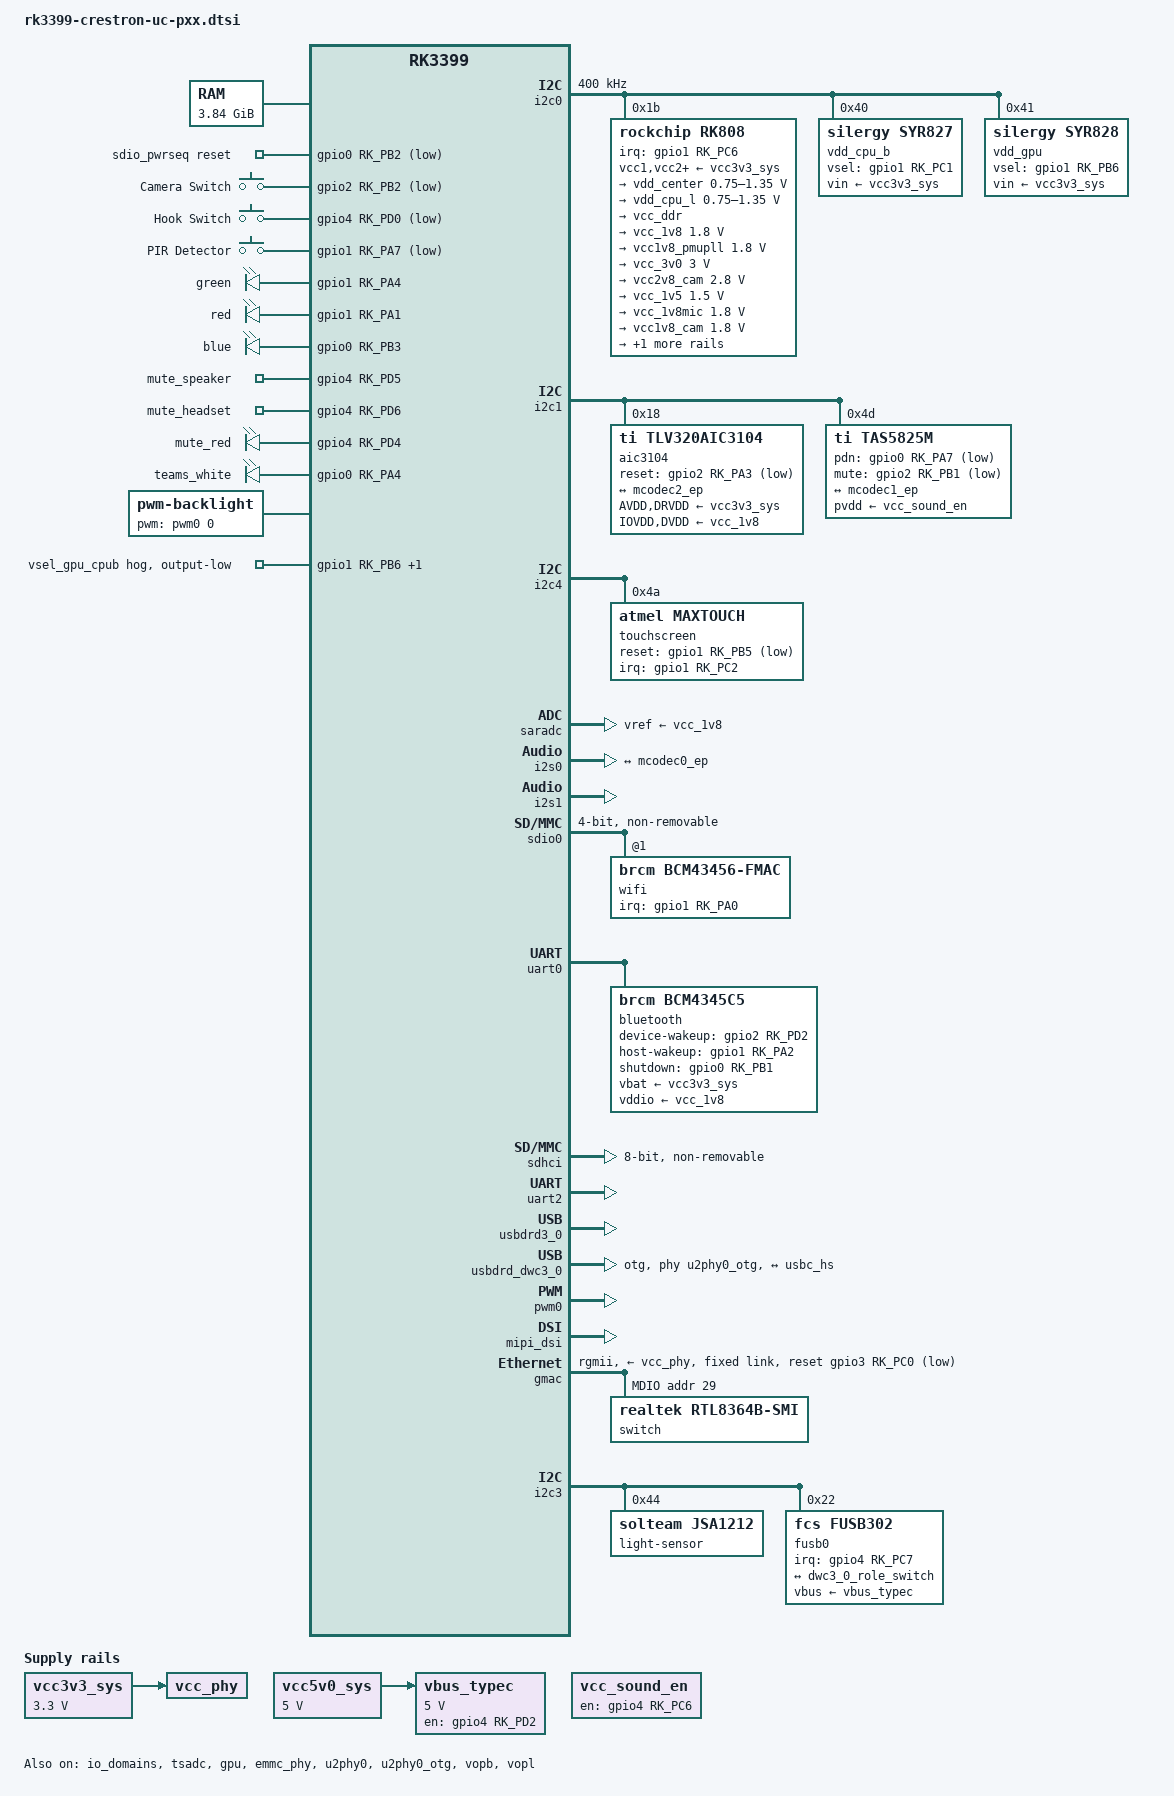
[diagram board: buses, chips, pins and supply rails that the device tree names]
// SPDX-License-Identifier: (GPL-2.0+ OR MIT)
/*
 * Common device tree for the Crestron UC-Pxx room phones (RK3399).
 *
 * The UC-P10 and the UC-P8 use the same board. They differ in the DSI panel
 * and in the order of the touch keys. The board file sets the model, the
 * panel compatible, the touch key codes and the sound card name.
 *
 * The display path is VOPB -> MIPI DSI0 -> panel, with a pwm0 backlight.
 * rockchip-drm owns the display after the kernel starts. There is no
 * simple-framebuffer.
 *
 * The memory banks avoid the OP-TEE secure carve-out at
 * 0x08400000..0x0a200000. The boot shim gives this DTB to the kernel, so
 * /chosen/bootargs is the kernel command line.
 *
 * fbcon=map:1 maps the framebuffer console to a framebuffer that does not
 * exist, so no console text reaches the LCD and the boot splash of the
 * initramfs owns fb0. The rescue and the text console of the root file
 * system map it back to fb0 (FBIOPUT_CON2FBMAP). fbcon=rotate:3 turns the
 * console upright then, and vt.global_cursor_default=0 hides its cursor.
 */

#include <dt-bindings/gpio/gpio.h>
#include <dt-bindings/input/input.h>
#include <dt-bindings/interrupt-controller/irq.h>
#include <dt-bindings/pinctrl/rockchip.h>
#include "rk3399.dtsi"

/ {
	aliases {
		ethernet0 = &gmac;
		mmc0 = &sdhci;
		serial2 = &uart2;
	};

	chosen {
		stdout-path = "serial2:115200n8";
		bootargs = "console=ttyS2,115200n8 earlycon=uart8250,mmio32,0xff1a0000 loglevel=7 clk_ignore_unused pd_ignore_unused fbcon=map:1 fbcon=rotate:3 vt.global_cursor_default=0 initramfs_async=0 panic=30 rdinit=/init";
	};

	memory@200000 {
		device_type = "memory";
		reg = <0x0 0x00200000 0x0 0x08200000>,
		      <0x0 0x0a200000 0x0 0xede00000>;
	};

	reserved-memory {
		#address-cells = <2>;
		#size-cells = <2>;
		ranges;

		/*
		 * 64 MiB contiguous pool for rockchip-drm scanout. The VOP runs
		 * without its IOMMU (iommus deleted below), so framebuffers must
		 * be physically contiguous; rockchip-drm uses dma_alloc (CMA) and
		 * programs the real physical address into WIN0_YRGB_MST.
		 * Placed in the upper memory bank, clear of the kernel load area
		 * (0x4000000) and OP-TEE (0x8400000..0xa200000).
		 */
		cma_reserved: linux,cma {
			compatible = "shared-dma-pool";
			reusable;
			linux,cma-default;
			size = <0x0 0x04000000>;
			alloc-ranges = <0x0 0x0a200000 0x0 0x40000000>;
		};
	};

	firmware {
		optee {
			compatible = "linaro,optee-tz";
			method = "smc";
			/* stock OP-TEE predates the mainline SMC ABI: probe fails -2 */
			status = "disabled";
		};
	};

	/*
	 * Stock "vcc_phy" (supply of the RTL8364B switch / gmac phy-supply):
	 * a fixed, always-on rail with no enable GPIO in the stock DT.
	 */
	vcc_phy: regulator-vcc-phy {
		compatible = "regulator-fixed";
		regulator-name = "vcc_phy";
		regulator-always-on;
		regulator-boot-on;
		vin-supply = <&vcc3v3_sys>;
	};

	/*
	 * USB-C VBUS source switch (stock fusb302 "vbus-5v-gpios" = GPIO4_D2,
	 * active high). Off at boot; only TCPM turns it on, when the port is a
	 * source (host role, e.g. an OTG adapter with Rd).
	 */
	vbus_typec: regulator-vbus-typec {
		compatible = "regulator-fixed";
		regulator-name = "vbus_typec";
		enable-active-high;
		gpio = <&gpio4 RK_PD2 GPIO_ACTIVE_HIGH>;
		pinctrl-names = "default";
		pinctrl-0 = <&vbus_typec_en>;
		regulator-min-microvolt = <5000000>;
		regulator-max-microvolt = <5000000>;
		vin-supply = <&vcc5v0_sys>;
	};

	vcc3v3_sys: regulator-vcc3v3-sys {
		compatible = "regulator-fixed";
		regulator-name = "vcc3v3_sys";
		regulator-always-on;
		regulator-boot-on;
		regulator-min-microvolt = <3300000>;
		regulator-max-microvolt = <3300000>;
	};

	vcc5v0_sys: regulator-vcc5v0-sys {
		compatible = "regulator-fixed";
		regulator-name = "vcc5v0_sys";
		regulator-always-on;
		regulator-boot-on;
		regulator-min-microvolt = <5000000>;
		regulator-max-microvolt = <5000000>;
	};

	/*
	 * Speaker amplifier PVDD/boost enable (stock "vcc_sound_en": GPIO4_C6,
	 * enable-active-high, boot-on, always-on).
	 */
	vcc_sound_en: regulator-vcc-sound-en {
		compatible = "regulator-fixed";
		regulator-name = "vcc_sound_en";
		enable-active-high;
		gpio = <&gpio4 RK_PC6 GPIO_ACTIVE_HIGH>;
		pinctrl-names = "default";
		pinctrl-0 = <&sound_en>;
		regulator-always-on;
		regulator-boot-on;
	};

	/* AP6256 Wi-Fi: WL_REG_ON = GPIO0_B2, 32 kHz LPO = RK808 clkout2 */
	sdio_pwrseq: sdio-pwrseq {
		compatible = "mmc-pwrseq-simple";
		clocks = <&rk808 1>;
		clock-names = "ext_clock";
		pinctrl-names = "default";
		pinctrl-0 = <&wifi_enable_h>;
		reset-gpios = <&gpio0 RK_PB2 GPIO_ACTIVE_LOW>;
	};

	/*
	 * Front-panel switches (stock gpio-keys, EV_SW, active low, 100 ms
	 * debounce): privacy camera shutter, handset hook, PIR presence.
	 */
	gpio-keys {
		compatible = "gpio-keys";
		pinctrl-names = "default";
		pinctrl-0 = <&switches>;

		switch-camera {
			label = "Camera Switch";
			gpios = <&gpio2 RK_PB2 GPIO_ACTIVE_LOW>;
			linux,input-type = <EV_SW>;
			linux,code = <SW_CAMERA_LENS_COVER>;
			debounce-interval = <100>;
		};

		switch-hook {
			label = "Hook Switch";
			gpios = <&gpio4 RK_PD0 GPIO_ACTIVE_LOW>;
			linux,input-type = <EV_SW>;
			linux,code = <SW_DOCK>;
			debounce-interval = <100>;
		};

		switch-pir {
			label = "PIR Detector";
			gpios = <&gpio1 RK_PA7 GPIO_ACTIVE_LOW>;
			linux,input-type = <EV_SW>;
			linux,code = <SW_FRONT_PROXIMITY>;
			debounce-interval = <100>;
		};
	};

	/* Stock gpio-leds (names kept; all default off as in stock) */
	leds {
		compatible = "gpio-leds";
		pinctrl-names = "default";
		pinctrl-0 = <&led_pins>;

		led-green {
			label = "green";
			gpios = <&gpio1 RK_PA4 GPIO_ACTIVE_HIGH>;
			default-state = "off";
		};

		led-red {
			label = "red";
			gpios = <&gpio1 RK_PA1 GPIO_ACTIVE_HIGH>;
			default-state = "off";
		};

		led-blue {
			label = "blue";
			gpios = <&gpio0 RK_PB3 GPIO_ACTIVE_HIGH>;
			default-state = "off";
		};

		led-mute-speaker {
			label = "mute_speaker";
			gpios = <&gpio4 RK_PD5 GPIO_ACTIVE_HIGH>;
			default-state = "off";
		};

		led-mute-headset {
			label = "mute_headset";
			gpios = <&gpio4 RK_PD6 GPIO_ACTIVE_HIGH>;
			default-state = "off";
		};

		led-mute-red {
			label = "mute_red";
			gpios = <&gpio4 RK_PD4 GPIO_ACTIVE_HIGH>;
			default-state = "off";
		};

		led-teams-white {
			label = "teams_white";
			gpios = <&gpio0 RK_PA4 GPIO_ACTIVE_HIGH>;
			default-state = "off";
		};
	};

	/*
	 * Main sound card. I2S0 (master, mclk 256 fs, 4 channel playback)
	 * feeds two codecs on one link, as the stock "grandstream-audio" card
	 * does: the TAS5825M speaker amplifier and the TLV320AIC3104
	 * handset and headset codec. Playback channels 1-2 go to I2S0 SDO0,
	 * channels 3-4 to SDO1. The board file sets the card name (label).
	 */
	sound: sound {
		compatible = "audio-graph-card2";
		links = <&i2s0_port>;

		multi {
			#address-cells = <1>;
			#size-cells = <0>;

			ports@0 {
				reg = <0>;
				#address-cells = <1>;
				#size-cells = <0>;

				port@0 {
					reg = <0>;
					mcodec0_ep: endpoint {
						remote-endpoint = <&i2s0_ep>;
					};
				};

				port@1 {
					reg = <1>;
					mcodec1_ep: endpoint {
						remote-endpoint = <&tas5825m_ep>;
					};
				};

				port@2 {
					reg = <2>;
					mcodec2_ep: endpoint {
						remote-endpoint = <&aic3104_ep>;
					};
				};
			};
		};
	};

	/* Bluetooth SCO PCM on I2S1 (stock "rockchip,bt" card) */
	bt_sco: bt-sco {
		compatible = "delta,dfbmcs320";
		#sound-dai-cells = <0>;
	};

	bt-sound {
		compatible = "simple-audio-card";
		simple-audio-card,name = "rockchip,bt";
		simple-audio-card,format = "dsp_b";
		simple-audio-card,bitclock-inversion;
		simple-audio-card,mclk-fs = <256>;

		simple-audio-card,cpu {
			sound-dai = <&i2s1>;
		};

		simple-audio-card,codec {
			sound-dai = <&bt_sco>;
		};
	};

	backlight: backlight {
		compatible = "pwm-backlight";
		pwms = <&pwm0 0 20000 0>;
		/* The board files give the brightness-levels table. */
		default-brightness-level = <240>;
	};
};

/*
 * i2c0: RK808 PMIC + the two Silergy SYR82x DC/DC (big-cluster and GPU
 * rails). Every regulator is described exactly as in the stock 1.0.6.20
 * kernel DT (voltages, always-on/boot-on, ramp delays, suspend states).
 * Regulators the stock DT leaves undescribed (RK808 LDO_REG1, LDO_REG2,
 * SWITCH_REG1) stay undescribed, so the kernel never touches them.
 * The panel power supply is vcc3v3_lcd2 (SWITCH_REG2).
 */
&i2c0 {
	clock-frequency = <400000>;
	i2c-scl-rising-time-ns = <180>;
	i2c-scl-falling-time-ns = <30>;
	status = "okay";

	rk808: pmic@1b {
		compatible = "rockchip,rk808";
		reg = <0x1b>;
		interrupt-parent = <&gpio1>;
		interrupts = <RK_PC6 IRQ_TYPE_LEVEL_LOW>;
		pinctrl-names = "default";
		pinctrl-0 = <&pmic_int_l>;
		#clock-cells = <1>;
		clock-output-names = "rk808-clkout1", "wifibt_32kin";
		system-power-controller;
		wakeup-source;

		vcc1-supply = <&vcc3v3_sys>;
		vcc2-supply = <&vcc3v3_sys>;
		vcc3-supply = <&vcc3v3_sys>;
		vcc4-supply = <&vcc3v3_sys>;
		vcc6-supply = <&vcc3v3_sys>;
		vcc7-supply = <&vcc3v3_sys>;
		vcc8-supply = <&vcc3v3_sys>;
		vcc9-supply = <&vcc3v3_sys>;
		vcc10-supply = <&vcc3v3_sys>;
		vcc11-supply = <&vcc3v3_sys>;
		vcc12-supply = <&vcc3v3_sys>;

		regulators {
			vdd_center: DCDC_REG1 {
				regulator-name = "vdd_center";
				regulator-always-on;
				regulator-boot-on;
				regulator-min-microvolt = <750000>;
				regulator-max-microvolt = <1350000>;
				regulator-ramp-delay = <6001>;

				regulator-state-mem {
					regulator-on-in-suspend;
					regulator-suspend-max-microvolt = <1000000>;
				};
			};

			vdd_cpu_l: DCDC_REG2 {
				regulator-name = "vdd_cpu_l";
				regulator-always-on;
				regulator-boot-on;
				regulator-min-microvolt = <750000>;
				regulator-max-microvolt = <1350000>;
				regulator-ramp-delay = <6001>;

				regulator-state-mem {
					regulator-on-in-suspend;
					regulator-suspend-max-microvolt = <1000000>;
				};
			};

			vcc_ddr: DCDC_REG3 {
				regulator-name = "vcc_ddr";
				regulator-always-on;
				regulator-boot-on;

				regulator-state-mem {
					regulator-on-in-suspend;
				};
			};

			vcc_1v8: DCDC_REG4 {
				regulator-name = "vcc_1v8";
				regulator-always-on;
				regulator-boot-on;
				regulator-min-microvolt = <1800000>;
				regulator-max-microvolt = <1800000>;

				regulator-state-mem {
					regulator-on-in-suspend;
					regulator-suspend-microvolt = <1800000>;
				};
			};

			vcc1v8_pmupll: LDO_REG3 {
				regulator-name = "vcc1v8_pmupll";
				regulator-always-on;
				regulator-boot-on;
				regulator-min-microvolt = <1800000>;
				regulator-max-microvolt = <1800000>;

				regulator-state-mem {
					regulator-on-in-suspend;
					regulator-suspend-microvolt = <1800000>;
				};
			};

			vcc_3v0: LDO_REG4 {
				regulator-name = "vcc_3v0";
				regulator-always-on;
				regulator-boot-on;
				regulator-min-microvolt = <3000000>;
				regulator-max-microvolt = <3000000>;

				regulator-state-mem {
					regulator-on-in-suspend;
					regulator-suspend-microvolt = <3000000>;
				};
			};

			vcc2v8_cam: LDO_REG5 {
				regulator-name = "vcc2v8_cam";
				regulator-always-on;
				regulator-boot-on;
				regulator-min-microvolt = <2800000>;
				regulator-max-microvolt = <2800000>;

				regulator-state-mem {
					regulator-on-in-suspend;
					regulator-suspend-microvolt = <2800000>;
				};
			};

			vcc_1v5: LDO_REG6 {
				regulator-name = "vcc_1v5";
				regulator-always-on;
				regulator-boot-on;
				regulator-min-microvolt = <1500000>;
				regulator-max-microvolt = <1500000>;

				regulator-state-mem {
					regulator-on-in-suspend;
					regulator-suspend-microvolt = <1500000>;
				};
			};

			vcc_1v8mic: LDO_REG7 {
				regulator-name = "vcc_1v8mic";
				regulator-always-on;
				regulator-boot-on;
				regulator-min-microvolt = <1800000>;
				regulator-max-microvolt = <1800000>;

				regulator-state-mem {
					regulator-on-in-suspend;
					regulator-suspend-microvolt = <1800000>;
				};
			};

			vcc1v8_cam: LDO_REG8 {
				regulator-name = "vcc1v8_cam";
				regulator-always-on;
				regulator-boot-on;
				regulator-min-microvolt = <1800000>;
				regulator-max-microvolt = <1800000>;

				regulator-state-mem {
					regulator-on-in-suspend;
					regulator-suspend-microvolt = <1800000>;
				};
			};

			/*
			 * Panel 3.3 V. Not always-on in stock: the DSI panel is
			 * its only consumer and enables it in prepare().
			 */
			vcc3v3_lcd2: SWITCH_REG2 {
				regulator-name = "vcc3v3_lcd2";
				regulator-min-microvolt = <3300000>;
				regulator-max-microvolt = <3300000>;
				regulator-ramp-delay = <500000>;

				regulator-state-mem {
					regulator-off-in-suspend;
				};
			};
		};
	};

	/* Big-cluster (A72) rail. VSEL pin held low -> VSEL0 = runtime. */
	vdd_cpu_b: regulator@40 {
		compatible = "silergy,syr827";
		reg = <0x40>;
		fcs,suspend-voltage-selector = <1>;
		pinctrl-names = "default";
		pinctrl-0 = <&vsel1_pin>;
		vsel-gpios = <&gpio1 RK_PC1 GPIO_ACTIVE_HIGH>;
		regulator-name = "vdd_cpu_b";
		regulator-min-microvolt = <712500>;
		regulator-max-microvolt = <1500000>;
		regulator-ramp-delay = <1000>;
		regulator-always-on;
		regulator-boot-on;
		vin-supply = <&vcc3v3_sys>;

		regulator-state-mem {
			regulator-off-in-suspend;
		};
	};

	/* GPU rail. VSEL pin held low -> VSEL0 = runtime. */
	vdd_gpu: regulator@41 {
		compatible = "silergy,syr828";
		reg = <0x41>;
		fcs,suspend-voltage-selector = <1>;
		pinctrl-names = "default";
		pinctrl-0 = <&vsel2_pin>;
		vsel-gpios = <&gpio1 RK_PB6 GPIO_ACTIVE_HIGH>;
		regulator-name = "vdd_gpu";
		regulator-min-microvolt = <712500>;
		regulator-max-microvolt = <1500000>;
		regulator-ramp-delay = <1000>;
		regulator-always-on;
		regulator-boot-on;
		vin-supply = <&vcc3v3_sys>;

		regulator-state-mem {
			regulator-off-in-suspend;
		};
	};
};

/* i2c1: speaker amplifier + handset/headset codec (stock timings) */
&i2c1 {
	i2c-scl-rising-time-ns = <164>;
	i2c-scl-falling-time-ns = <15>;
	status = "okay";

	aic3104: audio-codec@18 {
		compatible = "ti,tlv320aic3104";
		reg = <0x18>;
		#sound-dai-cells = <0>;
		clocks = <&cru SCLK_I2S_8CH_OUT>;
		pinctrl-names = "default";
		pinctrl-0 = <&aic3104_pins>;
		reset-gpios = <&gpio2 RK_PA3 GPIO_ACTIVE_LOW>;
		ai3x-micbias-vg = <2>;		/* 2.5 V, as stock */
		AVDD-supply = <&vcc3v3_sys>;
		DRVDD-supply = <&vcc3v3_sys>;
		IOVDD-supply = <&vcc_1v8>;
		DVDD-supply = <&vcc_1v8>;

		port {
			aic3104_ep: endpoint {
				remote-endpoint = <&mcodec2_ep>;
				/* MCLK pin: the card enables it and sets 256 fs */
				clocks = <&cru SCLK_I2S_8CH_OUT>;
				mclk-fs = <256>;
			};
		};
	};

	tas5825m: amplifier@4d {
		compatible = "ti,tas5825m";
		reg = <0x4d>;
		#sound-dai-cells = <0>;
		pinctrl-names = "default";
		pinctrl-0 = <&tas5825m_pins>;
		pdn-gpios = <&gpio0 RK_PA7 GPIO_ACTIVE_LOW>;
		mute-gpios = <&gpio2 RK_PB1 GPIO_ACTIVE_LOW>;
		pvdd-supply = <&vcc_sound_en>;
		ti,dsp-config-name = "ucp10";
		sound-name-prefix = "Speaker";

		port {
			tas5825m_ep: endpoint {
				remote-endpoint = <&mcodec1_ep>;
			};
		};
	};
};

/*
 * i2c2: OV2735 2-lane MIPI camera on ISP0. Disabled: on the tested UC-P10
 * the sensor does not answer (the stock probe also fails with -ENXIO at
 * 0x3c).
 */
&i2c2 {
	clock-frequency = <400000>;
	i2c-scl-rising-time-ns = <200>;
	i2c-scl-falling-time-ns = <115>;
	status = "disabled";

	camera@3c {
		compatible = "ovti,ov2735";
		reg = <0x3c>;
		clocks = <&cru SCLK_CIF_OUT>;
		pinctrl-names = "default";
		pinctrl-0 = <&cif_clkouta &ov2735_pins>;
		avdd-supply = <&vcc2v8_cam>;
		dvdd-supply = <&vcc1v8_cam>;
		dovdd-supply = <&vcc1v8_cam>;
		reset-gpios = <&gpio2 RK_PA2 GPIO_ACTIVE_LOW>;
		/* stock pwdn-gpios GPIO2_A4 active high == enable active low */
		enable-gpios = <&gpio2 RK_PA4 GPIO_ACTIVE_LOW>;
		status = "disabled";
	};
};

/* i2c4: Atmel maXTouch mXT1066 (family 164, variant 11, FW 1.2.AA) */
&i2c4 {
	i2c-scl-rising-time-ns = <475>;
	i2c-scl-falling-time-ns = <26>;
	status = "okay";

	/*
	 * The 6 capacitive keys are the T15 key array of the chip. The board
	 * file sets "linux,keycodes" for T15, because the key order differs
	 * between the models. "linux,keycodes" keeps this a direct
	 * touchscreen ("linux,gpio-keymap" would make it a touchpad).
	 */
	touchscreen: touchscreen@4a {
		compatible = "atmel,maxtouch";
		reg = <0x4a>;
		interrupt-parent = <&gpio1>;
		interrupts = <RK_PC2 IRQ_TYPE_LEVEL_LOW>;
		pinctrl-names = "default";
		pinctrl-0 = <&touch_pins>;
		reset-gpios = <&gpio1 RK_PB5 GPIO_ACTIVE_LOW>;
	};
};

&io_domains {
	bt656-supply = <&vcc_1v8>;
	audio-supply = <&vcc_1v8mic>;
	gpio1830-supply = <&vcc_3v0>;
	status = "okay";
};

&pmu_io_domains {
	pmu1830-supply = <&vcc_1v8>;
	status = "okay";
};

&tsadc {
	/* stock: tshut via OTP_OUT GPIO to the PMIC, active high */
	rockchip,hw-tshut-mode = <1>;
	rockchip,hw-tshut-polarity = <1>;
	status = "okay";
};

&saradc {
	/* ch1 = recovery key, ch2 = handset detect (stock gs_handset_det) */
	vref-supply = <&vcc_1v8>;
	status = "okay";
};

&gpu {
	mali-supply = <&vdd_gpu>;
	status = "okay";
};

&i2s0 {
	rockchip,playback-channels = <4>;
	rockchip,capture-channels = <8>;
	status = "okay";

	i2s0_port: port {
		i2s0_ep: endpoint {
			remote-endpoint = <&mcodec0_ep>;
			dai-format = "i2s";
			bitclock-master;
			frame-master;
			mclk-fs = <256>;
		};
	};
};

&i2s1 {
	rockchip,playback-channels = <2>;
	rockchip,capture-channels = <2>;
	status = "okay";
};

/* AP6256 Wi-Fi (BCM43456) on SDIO0, SDR104 as stock */
&sdio0 {
	bus-width = <4>;
	cap-sd-highspeed;
	cap-sdio-irq;
	disable-wp;
	keep-power-in-suspend;
	max-frequency = <150000000>;
	mmc-pwrseq = <&sdio_pwrseq>;
	non-removable;
	pinctrl-names = "default";
	pinctrl-0 = <&sdio0_bus4 &sdio0_cmd &sdio0_clk>;
	sd-uhs-sdr104;
	#address-cells = <1>;
	#size-cells = <0>;
	status = "okay";

	wifi@1 {
		compatible = "brcm,bcm43456-fmac", "brcm,bcm4329-fmac";
		reg = <1>;
		interrupt-parent = <&gpio1>;
		interrupts = <RK_PA0 IRQ_TYPE_LEVEL_HIGH>;
		interrupt-names = "host-wake";
		pinctrl-names = "default";
		pinctrl-0 = <&wifi_host_wake>;
	};
};

/* AP6256 Bluetooth (BCM4345C5) on UART0 with RTS/CTS */
&uart0 {
	pinctrl-names = "default";
	pinctrl-0 = <&uart0_xfer &uart0_cts &uart0_rts>;
	uart-has-rtscts;
	status = "okay";

	bluetooth {
		compatible = "brcm,bcm4345c5";
		clocks = <&rk808 1>;
		clock-names = "lpo";
		device-wakeup-gpios = <&gpio2 RK_PD2 GPIO_ACTIVE_HIGH>;
		host-wakeup-gpios = <&gpio1 RK_PA2 GPIO_ACTIVE_HIGH>;
		shutdown-gpios = <&gpio0 RK_PB1 GPIO_ACTIVE_HIGH>;
		max-speed = <1500000>;
		pinctrl-names = "default";
		pinctrl-0 = <&bt_host_wake &bt_wake &bt_enable>;
		vbat-supply = <&vcc3v3_sys>;
		vddio-supply = <&vcc_1v8>;
	};
};

/*
 * Lines without a kernel consumer, named for userspace (libgpiod):
 * PoE class/PSE detect (stock "grandstream,poe-det"), and the two codec-side
 * external amplifier enables of the vendor aic3x driver ("hf-ext-amp" =
 * "Handfree Speaker Amp", "hs-ext-amp" = "Handset Speaker Amp").
 */
&gpio0 {
	gpio-line-names =
		/* A0-A7 */ "", "", "", "", "", "", "", "",
		/* B0-B7 */ "", "", "", "", "", "HF_EXT_AMP_EN", "", "",
		/* C0-C7 */ "", "", "", "", "", "", "", "",
		/* D0-D7 */ "", "", "", "", "", "", "", "";
};

&gpio1 {
	gpio-line-names =
		/* A0-A7 */ "", "", "", "", "", "", "", "",
		/* B0-B7 */ "HS_EXT_AMP_EN", "", "", "", "", "", "", "",
		/* C0-C7 */ "", "", "", "", "", "", "", "",
		/* D0-D7 */ "", "", "", "", "", "", "", "";

	/*
	 * SYR828 (vdd_gpu) VSEL = GPIO1_B6, SYR827 (vdd_cpu_b) VSEL = GPIO1_C1.
	 * Stock drives both output-low (runtime voltage from VSEL0, which is the
	 * register mainline fan53555 programs with suspend-voltage-selector 1).
	 * The mainline driver ignores vsel-gpios, so hog them low here instead
	 * of relying on the pinctrl pull-down alone.
	 */
	vsel-hog {
		gpio-hog;
		gpios = <RK_PB6 GPIO_ACTIVE_HIGH>, <RK_PC1 GPIO_ACTIVE_HIGH>;
		output-low;
		line-name = "vsel_gpu_cpub";
	};
};

&gpio2 {
	gpio-line-names =
		/* A0-A7 */ "", "", "", "", "", "TAS5825M_FAULT", "PSE_DET1", "PSE_DET2",
		/* B0-B7 */ "POE_802_3AT", "", "", "", "", "", "", "",
		/* C0-C7 */ "", "", "", "", "", "", "", "",
		/* D0-D7 */ "", "", "", "", "", "", "", "";
};

&gpio4 {
	gpio-line-names =
		/* A0-A7 */ "", "", "", "", "", "", "", "",
		/* B0-B7 */ "", "", "", "", "", "", "", "",
		/* C0-C7 */ "", "", "", "", "", "", "", "",
		/* D0-D7 */ "", "USB_CURRENT", "", "", "", "", "", "";
};

&emmc_phy {
	status = "okay";
};

&sdhci {
	bus-width = <8>;
	mmc-hs200-1_8v;
	non-removable;
	status = "okay";
};

&uart2 {
	status = "okay";
};

&u2phy0 {
	status = "okay";
};

&u2phy0_otg {
	status = "okay";
};

/* Stock DT disables u2phy1, usbdrd3_1, tcphy1 and all EHCI/OHCI: not wired. */
&u2phy1 {
	status = "disabled";
};

&u2phy1_otg {
	status = "disabled";
};

&usbdrd3_0 {
	status = "okay";
};

/*
 * USB-C port: dual-role, role chosen by the fusb302/TCPM through the USB
 * role switch (dwc3 starts, and stays when nothing is attached, in device
 * mode so the configfs gadget can bind). USB 2.0 only: the Type-C PHY
 * (tcphy0, SuperSpeed + orientation) is not used yet.
 */
&usbdrd_dwc3_0 {
	dr_mode = "otg";
	usb-role-switch;
	role-switch-default-mode = "peripheral";
	maximum-speed = "high-speed";
	phys = <&u2phy0_otg>;
	phy-names = "usb2-phy";
	snps,dis_u2_susphy_quirk;
	status = "okay";

	port {
		dwc3_0_role_switch: endpoint {
			remote-endpoint = <&usbc_hs>;
		};
	};
};

&usbdrd3_1 {
	status = "disabled";
};

&usbdrd_dwc3_1 {
	status = "disabled";
};

&pwm0 {
	status = "okay";
};

/* Display: VOPB -> MIPI DSI0 -> panel. The board file sets the panel compatible. */
&vopb {
	status = "okay";
	/delete-property/ iommus;

	/*
	 * Pixel clock (dclk_vop0): source it from VPLL set to 1200 MHz, so the
	 * integer divider gives exactly 120 MHz (VPLL/10) for the UC-P10 panel.
	 * Mainline rk3399.dtsi leaves the VOP dclk
	 * mux/parent unset, and dclk_vop0_div does not retune its PLL, so the
	 * source PLL must be pre-set to a divisible rate. ACLK/HCLK repeated
	 * because overriding assigned-clocks replaces the base vopb values.
	 */
	assigned-clocks = <&cru DCLK_VOP0_DIV>, <&cru DCLK_VOP0>,
			  <&cru PLL_VPLL>, <&cru ACLK_VOP0>, <&cru HCLK_VOP0>;
	assigned-clock-parents = <&cru PLL_VPLL>, <&cru DCLK_VOP0_DIV>;
	assigned-clock-rates = <0>, <0>,
			       <1200000000>, <400000000>, <100000000>;
};

&vopb_mmu {
	status = "disabled";
};

&vopl {
	status = "okay";
	/delete-property/ iommus;
};

&vopl_mmu {
	status = "disabled";
};

&mipi_dsi {
	status = "okay";
	#address-cells = <1>;
	#size-cells = <0>;

	panel: panel@0 {
		reg = <0>;
		backlight = <&backlight>;
		power-supply = <&vcc3v3_lcd2>;
		/* panel is mounted rotated; fbcon=rotate:3 in bootargs matches */
		rotation = <270>;
		/* stock reset-gpios <phandle 0x2f = gpio1, pin 24 = RK_PD0> */
		reset-gpios = <&gpio1 RK_PD0 GPIO_ACTIVE_LOW>;

		port {
			mipi_in_panel: endpoint {
				remote-endpoint = <&mipi_out_panel>;
			};
		};
	};
};

&mipi_out {
	mipi_out_panel: endpoint {
		remote-endpoint = <&mipi_in_panel>;
	};
};

/*
 * Ethernet: the GMAC RGMII goes to an on-board Realtek RTL8364B 2-port GbE
 * switch (no discrete PHY). Port 3 = LAN (PoE in), port 1 = PC pass-through.
 * MAC-side values (delays, clocking, reset GPIO and timing) are from the
 * stock 1.0.6.20 DT. The switch drives its RGMII port as a forced 1000/full
 * link, so the MAC uses a fixed link (the LAN port speed is the switch's
 * business). Userspace configures the switch through the realtek-rtl8364b-smi
 * driver (SMI over MDIO address 29) BEFORE eth0 is opened: rtl8363-init
 * replays the init of the stock kernel MDIO reset hook.
 */
&gmac {
	assigned-clocks = <&cru SCLK_RMII_SRC>;
	assigned-clock-parents = <&cru SCLK_MAC>;
	assigned-clock-rates = <125000000>;
	clock_in_out = "output";
	/* The MAC adds the RGMII delays (tx_delay, rx_delay), as stock does. */
	phy-mode = "rgmii";
	phy-supply = <&vcc_phy>;
	pinctrl-names = "default";
	pinctrl-0 = <&rgmii_pins>;
	snps,reset-gpio = <&gpio3 RK_PC0 GPIO_ACTIVE_LOW>;
	snps,reset-active-low;
	snps,reset-delays-us = <0 20000 100000>;
	tx_delay = <0x1a>;
	rx_delay = <0x00>;
	status = "okay";

	fixed-link {
		speed = <1000>;
		full-duplex;
		pause;
	};

	mdio {
		compatible = "snps,dwmac-mdio";
		#address-cells = <1>;
		#size-cells = <0>;

		/*
		 * RTL8364B SMI slave. (Its internal PHYs answer at MDIO 1 and 3,
		 * PHY ID 0x001cc943; they are managed through the switch.)
		 */
		switch@1d {
			compatible = "realtek,rtl8364b-smi";
			reg = <29>;
		};
	};
};

/* USB-C controller (stock: "fairchild,fusb302" on i2c3 @0x22, PD disabled) */
&i2c3 {
	i2c-scl-rising-time-ns = <600>;
	i2c-scl-falling-time-ns = <20>;
	status = "okay";

	/*
	 * Solteam JSA1213 ambient light sensor (stock "ls_jsa1213", polled).
	 * The stock sensor_operate shows the JSA1212 register core (CONF 0x01,
	 * INT 0x02, 12-bit ALS data 0x09/0x0A); the mainline jsa1212 driver
	 * binds and reads it. Stock also writes reg 0x0F = 0x29 at init
	 * (meaning unknown, not done here).
	 */
	light-sensor@44 {
		compatible = "solteam,jsa1212";
		reg = <0x44>;
	};

	fusb0: typec-portc@22 {
		compatible = "fcs,fusb302";
		reg = <0x22>;
		interrupt-parent = <&gpio4>;
		interrupts = <RK_PC7 IRQ_TYPE_LEVEL_LOW>;
		pinctrl-names = "default";
		pinctrl-0 = <&fusb0_int>;
		vbus-supply = <&vbus_typec>;

		connector {
			compatible = "usb-c-connector";
			label = "USB-C";
			data-role = "dual";
			power-role = "dual";
			try-power-role = "sink";
			self-powered;
			pd-disable;
			typec-power-opmode = "default";

			ports {
				#address-cells = <1>;
				#size-cells = <0>;

				port@0 {
					reg = <0>;

					usbc_hs: endpoint {
						remote-endpoint = <&dwc3_0_role_switch>;
					};
				};
			};
		};
	};
};

&pinctrl {
	/* PoE detect inputs: no kernel consumer, pulls applied as a hog */
	pinctrl-names = "default";
	pinctrl-0 = <&poe_det_pins>;

	pmic {
		pmic_int_l: pmic-int-l {
			rockchip,pins = <1 RK_PC6 RK_FUNC_GPIO &pcfg_pull_up>;
		};

		vsel1_pin: vsel1-pin {
			rockchip,pins = <1 RK_PC1 RK_FUNC_GPIO &pcfg_pull_down>;
		};

		vsel2_pin: vsel2-pin {
			rockchip,pins = <1 RK_PB6 RK_FUNC_GPIO &pcfg_pull_down>;
		};
	};

	sdio-pwrseq {
		wifi_enable_h: wifi-enable-h {
			rockchip,pins = <0 RK_PB2 RK_FUNC_GPIO &pcfg_pull_none>;
		};
	};

	wireless-wlan {
		wifi_host_wake: wifi-host-wake {
			rockchip,pins = <1 RK_PA0 RK_FUNC_GPIO &pcfg_pull_none>;
		};
	};

	bluetooth {
		bt_enable: bt-enable {
			rockchip,pins = <0 RK_PB1 RK_FUNC_GPIO &pcfg_pull_none>;
		};

		bt_host_wake: bt-host-wake {
			rockchip,pins = <1 RK_PA2 RK_FUNC_GPIO &pcfg_pull_none>;
		};

		bt_wake: bt-wake {
			rockchip,pins = <2 RK_PD2 RK_FUNC_GPIO &pcfg_pull_none>;
		};
	};

	sound {
		sound_en: sound-en {
			rockchip,pins = <4 RK_PC6 RK_FUNC_GPIO &pcfg_pull_up>;
		};

		/* PDN, MUTEZ, FAULT */
		tas5825m_pins: tas5825m-pins {
			rockchip,pins = <0 RK_PA7 RK_FUNC_GPIO &pcfg_pull_up>,
					<2 RK_PB1 RK_FUNC_GPIO &pcfg_pull_up>,
					<2 RK_PA5 RK_FUNC_GPIO &pcfg_pull_up>;
		};

		/*
		 * reset, hf-ext-amp (GPIO0_B5) and hs-ext-amp (GPIO1_B0). Both
		 * amplifier enables are driven HIGH by this default state when the
		 * codec probes (hands-free speaker and handset both on; both are fed
		 * from the AIC3104 right DAC, I2S0 channel 4). No hog: the lines stay
		 * free, so userspace can still switch them (gpio chardev).
		 */
		aic3104_pins: aic3104-pins {
			rockchip,pins = <2 RK_PA3 RK_FUNC_GPIO &pcfg_pull_up>,
					<0 RK_PB5 RK_FUNC_GPIO &pcfg_output_high>,
					<1 RK_PB0 RK_FUNC_GPIO &pcfg_output_high>;
		};
	};

	touchscreen {
		touch_pins: touch-pins {
			rockchip,pins = <1 RK_PC2 RK_FUNC_GPIO &pcfg_pull_up>,
					<1 RK_PB5 RK_FUNC_GPIO &pcfg_pull_none>;
		};
	};

	camera {
		ov2735_pins: ov2735-pins {
			rockchip,pins = <2 RK_PA2 RK_FUNC_GPIO &pcfg_pull_up>,
					<2 RK_PA4 RK_FUNC_GPIO &pcfg_pull_up>;
		};
	};

	buttons {
		switches: switches {
			rockchip,pins = <2 RK_PB2 RK_FUNC_GPIO &pcfg_pull_up>,
					<4 RK_PD0 RK_FUNC_GPIO &pcfg_pull_up>,
					<1 RK_PA7 RK_FUNC_GPIO &pcfg_pull_up>;
		};
	};

	leds {
		led_pins: led-pins {
			rockchip,pins = <1 RK_PA4 RK_FUNC_GPIO &pcfg_pull_up>,
					<1 RK_PA1 RK_FUNC_GPIO &pcfg_pull_up>,
					<0 RK_PB3 RK_FUNC_GPIO &pcfg_pull_up>,
					<4 RK_PD5 RK_FUNC_GPIO &pcfg_pull_up>,
					<4 RK_PD6 RK_FUNC_GPIO &pcfg_pull_up>,
					<4 RK_PD4 RK_FUNC_GPIO &pcfg_pull_up>,
					<0 RK_PA4 RK_FUNC_GPIO &pcfg_pull_up>;
		};
	};

	poe {
		poe_det_pins: poe-det-pins {
			rockchip,pins = <2 RK_PB0 RK_FUNC_GPIO &pcfg_pull_up>,
					<2 RK_PA6 RK_FUNC_GPIO &pcfg_pull_up>,
					<2 RK_PA7 RK_FUNC_GPIO &pcfg_pull_up>;
		};
	};

	fusb302 {
		fusb0_int: fusb0-int {
			rockchip,pins = <4 RK_PC7 RK_FUNC_GPIO &pcfg_pull_up>;
		};

		vbus_typec_en: vbus-typec-en {
			rockchip,pins = <4 RK_PD2 RK_FUNC_GPIO &pcfg_pull_none>;
		};
	};
};

/*
 * The loader leaves the big-cluster PLL (BPLL) in slow mode: armclkb runs
 * at 12 MHz (24 MHz xin / 2) and the A72 cores time out while coming
 * online. Put BPLL in normal mode at 816 MHz when the CRU registers.
 * Setting the rate of PLL_APLLB (the PLL mode mux) makes the clock core
 * pick the PLL output parent (normal mode); the cpuclk notifier sets the
 * armclkb dividers. At that point vdd_cpu_b is the SYR827 power-on value
 * (1000 mV measured), above the 825 mV that 816 MHz needs, and the
 * big cores are still offline. The rk3399-base.dtsi entries are repeated
 * because this property replaces the whole list.
 */
&cru {
	assigned-clocks =
		<&cru PLL_GPLL>, <&cru PLL_CPLL>,
		<&cru PLL_NPLL>,
		<&cru ACLK_PERIHP>, <&cru HCLK_PERIHP>,
		<&cru PCLK_PERIHP>,
		<&cru ACLK_PERILP0>, <&cru HCLK_PERILP0>,
		<&cru PCLK_PERILP0>, <&cru ACLK_CCI>,
		<&cru HCLK_PERILP1>, <&cru PCLK_PERILP1>,
		<&cru ACLK_VIO>, <&cru ACLK_HDCP>,
		<&cru ACLK_GIC_PRE>,
		<&cru PCLK_DDR>,
		<&cru ACLK_VDU>,
		<&cru PLL_APLLB>;
	assigned-clock-rates =
		 <594000000>,  <800000000>,
		<1000000000>,
		 <150000000>,   <75000000>,
		  <37500000>,
		 <100000000>,  <100000000>,
		  <50000000>, <600000000>,
		 <100000000>,   <50000000>,
		 <400000000>, <400000000>,
		 <200000000>,
		 <200000000>,
		 <400000000>,
		 <816000000>;
};

/*
 * CPU DVFS. cpu-supply: little = RK808 DCDC2 (vdd_cpu_l), big = SYR827
 * (vdd_cpu_b). The OPP tables are the ones from rk3399.dtsi. Every mainline
 * OPP voltage is >= the stock 1.0.6.20 "L0" (worst-leakage) voltage for the
 * same frequency, so the CPUs never run below what the vendor validated for
 * any bin.
 *
 * On the tested UC-P10 the stock kernel (/d/opp/opp_summary) runs the chip
 * at its "L2" bin: big 408/600/816 MHz 800 mV, 1008 850, 1200 900, 1416 1000,
 * 1608 1050, 1800 1150; little only 1416 MHz at 1075 mV; GPU 200-400 MHz
 * 800 mV, 600 900, 800 1050. Mainline's values are 25-50 mV above those.
 *
 * Little 408/600 MHz raised from 825 to 850 mV: RK808 keeps the last OPP
 * voltage across a warm reset/reboot/panic, and the loader then runs the
 * little cluster at ~816 MHz, whose stock L0 voltage is 850 mV.
 */
&cluster0_opp {
	opp00 {
		opp-microvolt = <850000 850000 1250000>;
	};

	opp01 {
		opp-microvolt = <850000 850000 1250000>;
	};
};

&cpu_l0 {
	cpu-supply = <&vdd_cpu_l>;
};

&cpu_l1 {
	cpu-supply = <&vdd_cpu_l>;
};

&cpu_l2 {
	cpu-supply = <&vdd_cpu_l>;
};

&cpu_l3 {
	cpu-supply = <&vdd_cpu_l>;
};

&cpu_b0 {
	cpu-supply = <&vdd_cpu_b>;
};

&cpu_b1 {
	cpu-supply = <&vdd_cpu_b>;
};
